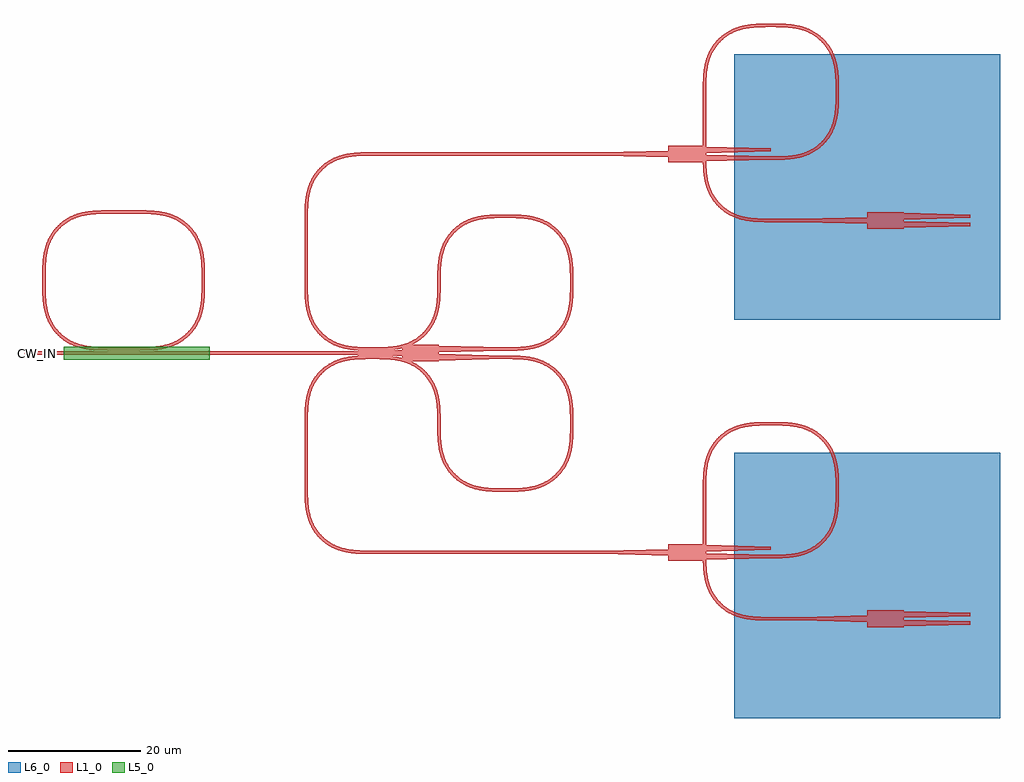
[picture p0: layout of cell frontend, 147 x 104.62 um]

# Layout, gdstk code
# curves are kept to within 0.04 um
from math import pi, radians
import gdstk
lib = gdstk.Library(unit=1e-6, precision=1e-09)
def R(c, l, rs):  # rectangles x0, y0, x1, y1
    for r in rs: c.add(gdstk.rectangle(r[:2], r[2:], *l))
def P(c, l, *ps):  # polygons
    for p in ps: c.add(gdstk.Polygon(p, *l))
L1_0 = (1, 0)
L5_0 = (5, 0)
L6_0 = (6, 0)

coupler_ring_gdsfactoryp = lib.new_cell('coupler_ring_gdsfactorypcomponentspcouplerspcoupler_rin_8b4bac0c')
R(coupler_ring_gdsfactoryp, L1_0, [(-17,-0.25,13,0.25)])
P(coupler_ring_gdsfactoryp, L1_0, [(-4.416,0.4),(-6.935,0.506),(-7.915,0.653),(-8.883,0.894),(-9.819,1.252),(-10.579,1.658),(-11.397,2.24),(-12.029,2.824),(-12.588,3.479),(-13.137,4.319),(-13.567,5.227),(-13.836,6.041),(-14.048,7.014),(-14.171,7.996),(-14.25,10.65),(-13.75,10.65),(-13.731,8.995),(-13.647,7.769),(-13.48,6.698),(-13.194,5.66),(-12.887,4.919),(-12.495,4.219),(-11.575,3.075),(-10.869,2.461),(-10.203,2.015),(-9.488,1.651),(-8.735,1.372),(-7.952,1.17),(-6.881,1.003),(-4.415,0.9),(1.243,0.908),(3.016,1.019),(4.084,1.199),(4.99,1.456),(5.731,1.763),(6.543,2.228),(7.283,2.8),(7.938,3.468),(8.495,4.219),(8.999,5.162),(9.353,6.173),(9.596,7.365),(9.719,8.722),(9.75,10.65),(10.25,10.65),(10.225,8.838),(10.128,7.575),(9.939,6.456),(9.618,5.361),(9.137,4.319),(8.5,3.365),(7.826,2.621),(6.939,1.894),(6.078,1.377),(5.289,1.032),(4.332,0.743),(3.216,0.54),(1.253,0.408)])

straight_gdsfactorypcomp = lib.new_cell('straight_gdsfactorypcomponentspwaveguidespstraight_L4_N_a6eac62c')
R(straight_gdsfactorypcomp, L1_0, [(0,-0.25,4,0.25)])

bend_euler_gdsfactorypco = lib.new_cell('bend_euler_gdsfactorypcomponentspbendspbend_euler_R10_A_a86bc407')
P(bend_euler_gdsfactorypco, L1_0, [(0,-0.25),(0,0.25),(1.655,0.269),(2.881,0.353),(3.952,0.52),(4.99,0.806),(5.731,1.113),(6.431,1.505),(7.575,2.425),(8.495,3.569),(8.887,4.269),(9.194,5.01),(9.48,6.048),(9.647,7.119),(9.731,8.345),(9.75,10),(10.25,10),(10.158,7.205),(10.023,6.224),(9.797,5.254),(9.457,4.312),(9.066,3.545),(8.5,2.715),(7.928,2.072),(7.285,1.5),(6.455,0.934),(5.688,0.543),(4.746,0.203),(3.776,-0.023),(2.795,-0.158)])

c_straight_gdsfactorypcomp = lib.new_cell('straight_gdsfactorypcomponentspwaveguidespstraight_L0p6_058e2168')
R(c_straight_gdsfactorypcomp, L1_0, [(0,-0.25,0.6,0.25)])

ring_single_gdsfactorypc = lib.new_cell('ring_single_gdsfactorypcomponentspringspring_single_G0p_8a3fefec')
ring_single_gdsfactorypc.add(gdstk.Reference(coupler_ring_gdsfactoryp, (0,0)))
ring_single_gdsfactorypc.add(gdstk.Reference(straight_gdsfactorypcomp, (0,21.25), rotation=pi))
ring_single_gdsfactorypc.add(gdstk.Reference(bend_euler_gdsfactorypco, (-4,21.25), rotation=pi))
ring_single_gdsfactorypc.add(gdstk.Reference(bend_euler_gdsfactorypco, (10,11.25), rotation=pi/2))
ring_single_gdsfactorypc.add(gdstk.Reference(c_straight_gdsfactorypcomp, (-14,10.65), rotation=pi/2))
ring_single_gdsfactorypc.add(gdstk.Reference(c_straight_gdsfactorypcomp, (10,11.25), rotation=3*pi/2))

clk_c406eb01 = lib.new_cell('clk_c406eb01')
R(clk_c406eb01, L5_0, [(-11,-1,11,1)])
clk_c406eb01.add(gdstk.Reference(ring_single_gdsfactorypc, (0,0)))
clk_c406eb01.add(gdstk.Label('CLK', (0,13), layer=100, texttype=0))

mmi1x2_gdsfactorypcompon = lib.new_cell('mmi1x2_gdsfactorypcomponentspmmispmmi1x2_WNone_WT1_LT10_1f097353')
P(mmi1x2_gdsfactorypcompon, L1_0, [(0,-1.25),(0,-0.5),(-10,-0.25),(-10,0.25),(0,0.5),(0,1.25),(5.5,1.25),(5.5,1.125),(15.5,0.875),(15.5,0.375),(5.5,0.125),(5.5,-0.125),(15.5,-0.375),(15.5,-0.875),(5.5,-1.125),(5.5,-1.25)])

ysplit_c406eb01 = lib.new_cell('ysplit_c406eb01')
ysplit_c406eb01.add(gdstk.Reference(mmi1x2_gdsfactorypcompon, (0,0)))
ysplit_c406eb01.add(gdstk.Label('Y', (0,5), layer=100, texttype=0))

c_bend_euler_gdsfactorypco = lib.new_cell('bend_euler_gdsfactorypcomponentspbendspbend_euler_R10_A_335c8724')
P(c_bend_euler_gdsfactorypco, L1_0, [(0,-0.25),(0,0.25),(1.655,0.269),(2.881,0.353),(3.952,0.52),(4.99,0.806),(5.731,1.113),(6.431,1.505),(7.575,2.425),(8.495,3.569),(8.887,4.269),(9.194,5.01),(9.48,6.048),(9.647,7.119),(9.731,8.345),(9.75,10),(10.25,10),(10.158,7.205),(10.023,6.224),(9.797,5.254),(9.457,4.312),(9.066,3.545),(8.5,2.715),(7.928,2.072),(7.285,1.5),(6.455,0.934),(5.688,0.543),(4.746,0.203),(3.776,-0.023),(2.795,-0.158)])

c_straight_gdsfactorypcomp_ = lib.new_cell('straight_gdsfactorypcomponentspwaveguidespstraight_L9p3_5c04381e')
R(c_straight_gdsfactorypcomp_, L1_0, [(0,-0.25,9.375,0.25)])

c_straight_gdsfactorypcomp__ = lib.new_cell('straight_gdsfactorypcomponentspwaveguidespstraight_L4p5_be343a92')
R(c_straight_gdsfactorypcomp__, L1_0, [(0,-0.25,4.5,0.25)])

awg_a_c406eb01 = lib.new_cell('awg_a_c406eb01')
R(awg_a_c406eb01, L6_0, [(10,-25,50,15)])
awg_a_c406eb01.add(gdstk.Reference(mmi1x2_gdsfactorypcompon, (0,0)))
awg_a_c406eb01.add(gdstk.Reference(mmi1x2_gdsfactorypcompon, (30,-10)))
awg_a_c406eb01.add(gdstk.Reference(c_bend_euler_gdsfactorypco, (25.5,9.375), rotation=3*pi/2, x_reflection=True))
awg_a_c406eb01.add(gdstk.Reference(c_bend_euler_gdsfactorypco, (15.5,19.375), x_reflection=True))
awg_a_c406eb01.add(gdstk.Reference(c_bend_euler_gdsfactorypco, (5.5,9.375), rotation=pi/2, x_reflection=True))
awg_a_c406eb01.add(gdstk.Reference(c_bend_euler_gdsfactorypco, (15.5,-10), rotation=pi, x_reflection=True))
awg_a_c406eb01.add(gdstk.Reference(c_straight_gdsfactorypcomp_, (5.5,9.375), rotation=3*pi/2))
awg_a_c406eb01.add(gdstk.Reference(c_straight_gdsfactorypcomp__, (15.5,-10)))
awg_a_c406eb01.add(gdstk.Label('AWG', (30,20), layer=100, texttype=0))

awg_b_c406eb01 = lib.new_cell('awg_b_c406eb01')
R(awg_b_c406eb01, L6_0, [(10,-25,50,15)])
awg_b_c406eb01.add(gdstk.Reference(mmi1x2_gdsfactorypcompon, (0,0)))
awg_b_c406eb01.add(gdstk.Reference(mmi1x2_gdsfactorypcompon, (30,-10)))
awg_b_c406eb01.add(gdstk.Reference(c_bend_euler_gdsfactorypco, (25.5,9.375), rotation=3*pi/2, x_reflection=True))
awg_b_c406eb01.add(gdstk.Reference(c_bend_euler_gdsfactorypco, (15.5,19.375), x_reflection=True))
awg_b_c406eb01.add(gdstk.Reference(c_bend_euler_gdsfactorypco, (5.5,9.375), rotation=pi/2, x_reflection=True))
awg_b_c406eb01.add(gdstk.Reference(c_bend_euler_gdsfactorypco, (15.5,-10), rotation=pi, x_reflection=True))
awg_b_c406eb01.add(gdstk.Reference(c_straight_gdsfactorypcomp_, (5.5,9.375), rotation=3*pi/2))
awg_b_c406eb01.add(gdstk.Reference(c_straight_gdsfactorypcomp__, (15.5,-10)))
awg_b_c406eb01.add(gdstk.Label('AWG', (30,20), layer=100, texttype=0))

c_straight_gdsfactorypcomp___ = lib.new_cell('straight_gdsfactorypcomponentspwaveguidespstraight_L17__fcd8af90')
R(c_straight_gdsfactorypcomp___, L1_0, [(0,-0.25,17,0.25)])

c_straight_gdsfactorypcomp____ = lib.new_cell('straight_gdsfactorypcomponentspwaveguidespstraight_L34p_65582a3e')
R(c_straight_gdsfactorypcomp____, L1_0, [(0,-0.25,34.5,0.25)])

frontend = lib.new_cell('frontend')
frontend.add(gdstk.Reference(clk_c406eb01, (0,0)))
frontend.add(gdstk.Reference(ysplit_c406eb01, (40,0)))
frontend.add(gdstk.Reference(awg_a_c406eb01, (80,30)))
frontend.add(gdstk.Reference(awg_b_c406eb01, (80,-30)))
frontend.add(gdstk.Reference(c_straight_gdsfactorypcomp___, (13,0)))
frontend.add(gdstk.Reference(c_bend_euler_gdsfactorypco, (65.5,10.625), rotation=3*pi/2, x_reflection=True))
frontend.add(gdstk.Reference(c_bend_euler_gdsfactorypco, (55.5,20.625), x_reflection=True))
frontend.add(gdstk.Reference(c_bend_euler_gdsfactorypco, (45.5,10.625), rotation=pi/2, x_reflection=True))
frontend.add(gdstk.Reference(c_bend_euler_gdsfactorypco, (35.5,0.625)))
frontend.add(gdstk.Reference(c_bend_euler_gdsfactorypco, (25.5,10.625), rotation=3*pi/2))
frontend.add(gdstk.Reference(c_bend_euler_gdsfactorypco, (35.5,30), rotation=pi))
frontend.add(gdstk.Reference(c_straight_gdsfactorypcomp_, (25.5,10.625), rotation=pi/2))
frontend.add(gdstk.Reference(c_straight_gdsfactorypcomp____, (35.5,30)))
frontend.add(gdstk.Reference(c_bend_euler_gdsfactorypco, (65.5,-10.625), rotation=pi/2))
frontend.add(gdstk.Reference(c_bend_euler_gdsfactorypco, (55.5,-20.625)))
frontend.add(gdstk.Reference(c_bend_euler_gdsfactorypco, (45.5,-10.625), rotation=3*pi/2))
frontend.add(gdstk.Reference(c_bend_euler_gdsfactorypco, (35.5,-0.625), x_reflection=True))
frontend.add(gdstk.Reference(c_bend_euler_gdsfactorypco, (25.5,-10.625), rotation=pi/2, x_reflection=True))
frontend.add(gdstk.Reference(c_bend_euler_gdsfactorypco, (35.5,-30), rotation=pi, x_reflection=True))
frontend.add(gdstk.Reference(c_straight_gdsfactorypcomp_, (25.5,-10.625), rotation=3*pi/2))
frontend.add(gdstk.Reference(c_straight_gdsfactorypcomp____, (35.5,-30)))
frontend.add(gdstk.Label('FRONTEND', (60,60), layer=100, texttype=0))
frontend.add(gdstk.Label('CW_IN', (-15,0), layer=100, texttype=0))

lib.write_gds('frontend.gds')
